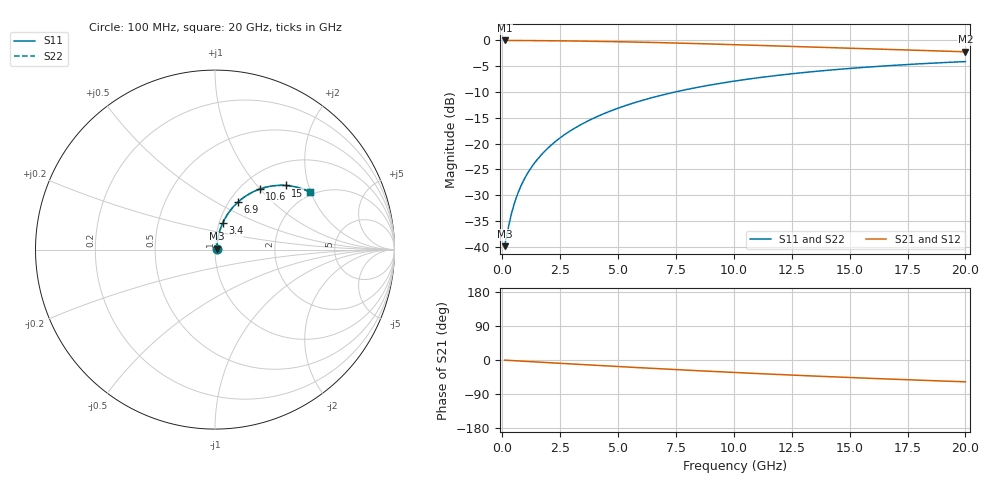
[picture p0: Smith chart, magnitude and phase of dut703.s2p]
! Touchstone file exported from HFSS 2026.1.0
!  File:  C:/ffzhzh/LocalFiles/Ansys_Project_Files/temp_train_BSMRDL_703_1783168060_43440.aedt
!  Generated:  08:29:07 PM Jul  4, 2026
!  Design:  BSMRDL
!  Project:  temp_train_BSMRDL_703_1783168060_43440
! Variables:
!  h_bsmrdl = 2.27um
!  h_ox = 20um
!  h_rdl = 5um
!  h_sub = 80um
!  h_tmrdl = 5um
!  h_tsv = 80um
!  h_via = 3um
!  l_bsmrdl = 789.32um
!  l_sub = 1189.32um
!  l_tmrdl = 200um
!  m_sub = 200um
!  pitch = 55.64um
!  r_tsv = 6um
!  s_tmrdl = 10um
!  w_bsmrdl = 13.65um
!  w_sub = 500um
!  w_tmrdl = 12um
!  x_tsv_center1 = 206um
!  x_tsv_center2 = 1008.97um
!  x_tsv_center3 = 1220.97um
!  x_tsv_center4 = 2023.94um
!  x_tsv_center5 = 2235.94um
!  x_tsv_center6 = 3038.91um
# GHz S MA R 50.000000
! Terminal data exported
! Port[1] = BSM_RDL1_1_T1
! Port[2] = BSM_RDL1_1_T2
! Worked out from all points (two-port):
!   200 points, 100 MHz to 20 GHz, reference 50 ohm
!   highest |S21| = -0.08 dB at 100 MHz (marker M1); lowest = -2.3 dB at 20 GHz (marker M2)
!   |S21| within 3 dB of the highest: start of sweep to end of sweep
!   lowest |S11| = -39.8 dB at 100 MHz (marker M3), VSWR 1.02, Z = 50.9 + j0.482 ohm
!   |S11| at or under -10 dB: start of sweep to 7.497 GHz
!   |S22| runs from -39.8 to -4.2 dB; largest |S21 - S12| = 6.1e-15
!   S11 on the Smith chart (normalised r, x): 100 MHz: 1.02, +0.01; 3.4 GHz: 1.04, +0.31; 6.9 GHz: 1.10, +0.64; 10.6 GHz: 1.22, +0.99; 15 GHz: 1.45, +1.44; 20 GHz: 1.90, +1.98
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0.1  0.01021 27.6  0.991 -0.4  0.991 -0.4  0.01021 27.6
! Gamma 0 0 0 0
! Port Impedance 50 0 50 0
0.3  0.01701 56.1  0.9907 -1.1  0.9907 -1.1  0.01701 56.1
0.4  0.02117 62.3  0.9905 -1.5  0.9905 -1.5  0.02117 62.3
0.5  0.02549 66.3  0.9902 -1.8  0.9902 -1.8  0.02549 66.3
0.6  0.02987 68.9  0.9899 -2.2  0.9899 -2.2  0.02987 68.9
0.8  0.03871 72.2  0.9893 -2.9  0.9893 -2.9  0.03871 72.2
1.1  0.05198 74.6  0.9884 -3.9  0.9884 -3.9  0.05198 74.6
1.5  0.06966 75.9  0.987 -5.3  0.987 -5.3  0.06966 75.9
2.1  0.09612 76.0  0.9844 -7.4  0.9844 -7.4  0.09612 76.0
2.7  0.1224 75.3  0.9813 -9.5  0.9813 -9.5  0.1224 75.3
3.4  0.1527 73.8  0.9769 -11.9  0.9769 -11.9  0.1527 73.8
3.5  0.157 73.6  0.9762 -12.2  0.9762 -12.2  0.157 73.6
5  0.2198 69.7  0.9637 -17.3  0.9637 -17.3  0.2198 69.6
6.8  0.2905 64.4  0.9445 -23.1  0.9445 -23.1  0.2905 64.4
6.9  0.2942 64.2  0.9434 -23.4  0.9434 -23.4  0.2942 64.1
8.4  0.3482 59.8  0.9246 -28.1  0.9246 -28.1  0.3482 59.8
10.1  0.4038 55.0  0.9015 -33.2  0.9015 -33.2  0.4038 54.9
10.6  0.419 53.6  0.8945 -34.6  0.8945 -34.6  0.419 53.5
13.4  0.495 46.2  0.8548 -42.2  0.8548 -42.2  0.495 46.1
15  0.5317 42.3  0.8326 -46.2  0.8326 -46.2  0.5317 42.2
16.7  0.5658 38.3  0.8099 -50.3  0.8099 -50.3  0.5658 38.2
20  0.6195 31.2  0.7702 -57.6  0.7702 -57.6  0.6196 31.1
